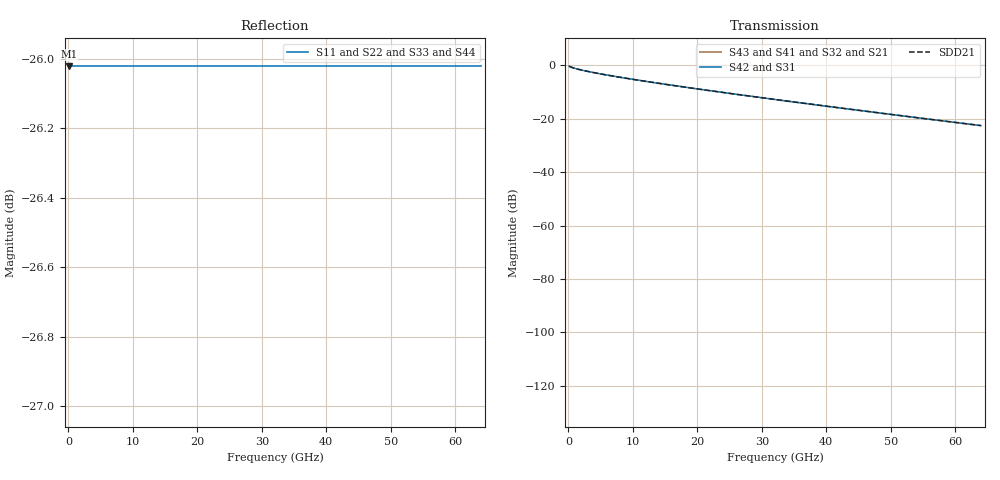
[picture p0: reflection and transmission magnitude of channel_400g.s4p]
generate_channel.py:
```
import numpy as np

def generate_true_s4p(filename, length_inches=5):
    freqs = np.linspace(0.1, 64, 500) 
    a1, a2 = 0.15 * length_inches, 0.04 * length_inches
    
    with open(filename, 'w') as f:
        f.write("# GHz S RI R 50\n")
        f.write(f"! True 4-Port Differential Channel: {length_inches} inches\n")
        for freq in freqs:
            # Transmission (S21/S43)
            loss_db = -(a1 * np.sqrt(freq) + a2 * freq)
            mag = 10**(loss_db / 20)
            phase = -2 * np.pi * freq * 0.160 * length_inches
            s_trans = f"{mag * np.cos(phase):.6f} {mag * np.sin(phase):.6f}"
            
            # Reflection (S11/S22/S33/S44) - small mismatch
            s_refl = "0.05 0.00"
            
            # Cross-talk/Isolation (S13/S14 etc) - assume high isolation for now
            s_iso = "0.00 0.00"
            
            # Row-by-row matrix (16 complex pairs)
            row1 = f"{s_refl} {s_iso} {s_trans} {s_iso}"
            row2 = f"{s_iso} {s_refl} {s_iso} {s_trans}"
            row3 = f"{s_trans} {s_iso} {s_refl} {s_iso}"
            row4 = f"{s_iso} {s_trans} {s_iso} {s_refl}"
            
            f.write(f"{freq:.4f} {row1} {row2} {row3} {row4}\n")

generate_true_s4p('data/channel_400g.s4p', length_inches=6)
```
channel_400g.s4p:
# GHz S RI R 50
! True 4-Port Differential Channel: 6 inches
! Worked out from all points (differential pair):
!   500 points, 100 MHz to 64 GHz, reference 50 ohm
!   strongest paths, dB at 100 MHz, 16.11 GHz, 32.11 GHz, 48.12 GHz, 64 GHz:
!     S42: -0.3, -7.5, -12.8, -17.8, -22.6
!     S31: -0.3, -7.5, -12.8, -17.8, -22.6
!     S43: -, -, -, -, -
!     S41: -, -, -, -, -
!     S32: -, -, -, -, -
!     S21: -, -, -, -, -
!   taken as a pair (ports 2,1 in; 4,3 out), SDD21 dB: -0.3, -7.5, -12.8, -17.8, -22.6
!   lowest |S11| = -26.0 dB at 100 MHz (marker M1), VSWR 1.11, Z = 55.3 + j0 ohm
!   |S11| at or under -10 dB: start of sweep to end of sweep
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0.1  0.05 0  0 0  0.7948 -0.5475  0 0
     0 0  0.05 0  0 0  0.7948 -0.5475
     0.7948 -0.5475  0 0  0.05 0  0 0
     0 0  0.7948 -0.5475  0 0  0.05 0
0.7403  0.05 0  0 0  -0.2192 0.869  0 0
        0 0  0.05 0  0 0  -0.2192 0.869
        -0.2192 0.869  0 0  0.05 0  0 0
        0 0  -0.2192 0.869  0 0  0.05 0
64  0.05 0  0 0  -0.0692 -0.0274  0 0
    0 0  0.05 0  0 0  -0.0692 -0.0274
    -0.0692 -0.0274  0 0  0.05 0  0 0
    0 0  -0.0692 -0.0274  0 0  0.05 0
